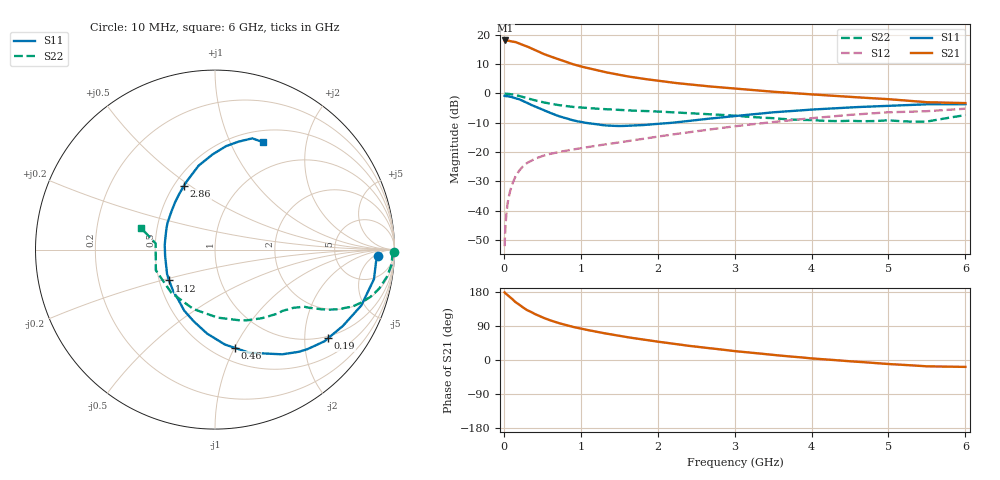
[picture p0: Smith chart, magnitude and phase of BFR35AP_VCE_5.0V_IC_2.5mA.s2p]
! Infineon Technologies  Discrete & RF Semiconductors
! BFR35AP
! VCE =  5.0 V,  IC =  2.5 mA
! Common Emitter S-Parameters:  Nov 2015
# GHz  S  MA  R  50
!  f  S11  S21  S12  S22
! GHz  MAG  ANG  MAG  ANG  MAG  ANG  MAG  ANG
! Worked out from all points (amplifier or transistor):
!   210 points, 10 MHz to 6 GHz, reference 50 ohm
!   highest |S21| = 18.1 dB at 20 MHz (marker M1)
!   |S21| within 3 dB of that: start of sweep to 383.9 MHz
!   unconditionally stable (mu >= 1): 1.113 GHz to 3.44 GHz
!   at 185 MHz: K = 0.25, MSG = 22.0 dB, |S12| = -26.9 dB
!   at 1.52 GHz: K = 1.12, MAG = 9.3 dB, |S12| = -16.6 dB
!   at 6 GHz: K = 0.96, MSG = 1.0 dB, |S12| = -5.2 dB
!   S11 on the Smith chart (normalised r, x): 10 MHz: 18, -7; 190 MHz: 0.95, -2.60; 460 MHz: 0.63, -1.00; 1.12 GHz: 0.56, -0.21; 2.86 GHz: 0.56, +0.47; 6 GHz: 0.64, +1.34
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0.01  0.9072 -2.2  7.896 178.4  0.0025 90.3  0.9973 -0.9
0.02  0.8999 -4.2  7.994 176.1  0.0051 87.4  0.9881 -1.8
0.06  0.893 -12.5  7.905 169.3  0.0162 82.0  0.9841 -5.6
0.15  0.8295 -30.9  7.534 153.1  0.038 72.1  0.9397 -13.4
0.19  0.801 -38.0  7.177 147.4  0.0462 68.8  0.913 -16.1
0.24  0.757 -47.1  6.767 140.1  0.0557 64.6  0.8772 -19.1
0.3  0.6933 -57.3  6.343 131.9  0.0651 60.7  0.8322 -22.3
0.4  0.605 -71.7  5.544 121.7  0.0764 55.6  0.7642 -25.8
0.46  0.558 -78.7  5.083 116.4  0.082 53.5  0.7324 -27.1
0.5  0.532 -84.0  4.803 112.4  0.0858 52.3  0.7115 -28.1
0.6  0.4699 -95.4  4.295 104.8  0.0933 50.3  0.6712 -29.6
0.7  0.417 -106.5  3.87 98.2  0.0994 49.4  0.6368 -30.9
0.8  0.3811 -116.7  3.472 92.4  0.1053 48.8  0.6105 -31.9
1.02  0.3238 -137.1  2.845 82.0  0.1178 48.7  0.5732 -33.9
1.12  0.3083 -146.1  2.649 77.9  0.1239 49.0  0.5605 -35.1
1.6  0.2814 174.7  1.962 60.2  0.1538 50.8  0.5158 -40.9
2.02  0.3045 149.7  1.629 47.9  0.1853 51.1  0.4902 -47.6
2.86  0.3946 116.1  1.255 26.9  0.2612 48.2  0.4295 -66.6
3.1  0.4235 109.8  1.182 21.6  0.2853 46.3  0.4075 -73.7
4.1  0.5399 89.8  0.945 2.8  0.3886 36.0  0.3451 -114.8
5.1  0.622 76.5  0.78 -11.7  0.4812 21.6  0.3407 -165.5
6  0.6557 65.9  0.685 -18.2  0.5495 10.5  0.428 163.8
